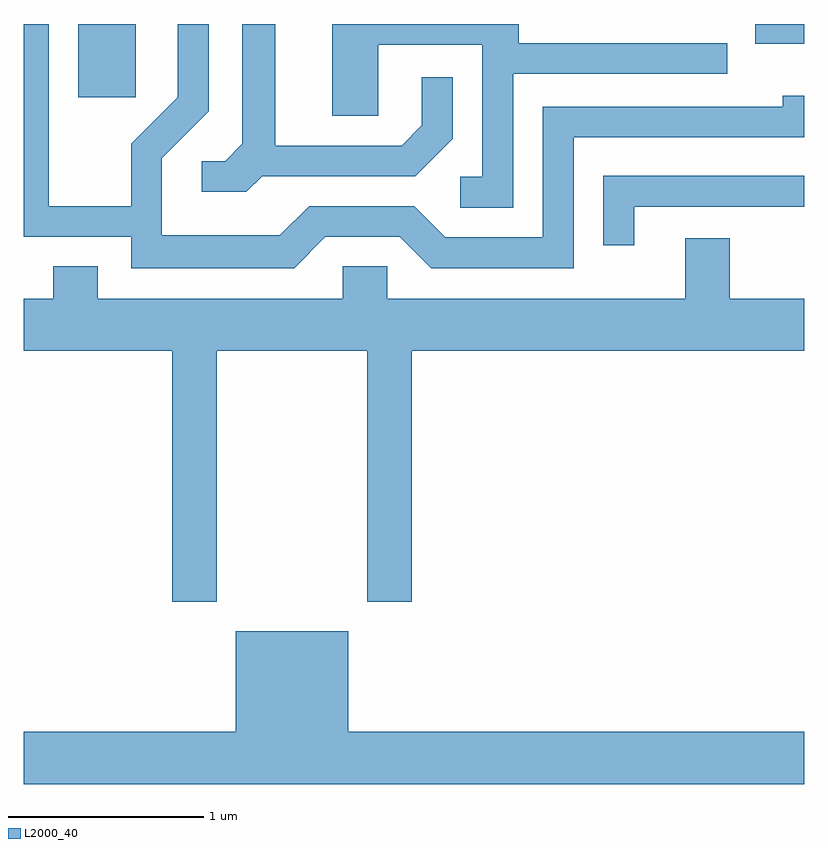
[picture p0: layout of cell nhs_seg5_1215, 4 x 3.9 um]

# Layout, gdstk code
import gdstk
lib = gdstk.Library(unit=1e-6, precision=1e-09)
def R(c, l, rs):  # rectangles x0, y0, x1, y1
    for r in rs: c.add(gdstk.rectangle(r[:2], r[2:], *l))
def P(c, l, *ps):  # polygons
    for p in ps: c.add(gdstk.Polygon(p, *l))
L2000_40 = (2000, 40)

nhs_seg5_1215 = lib.new_cell('nhs_seg5_1215')
R(nhs_seg5_1215, L2000_40, [(221.891,1413.696,222.184,1414.072), (225.361,1413.971,225.611,1414.072)])
P(nhs_seg5_1215, L2000_40, [(222.832,1413.291),(223.617,1413.291),(223.809,1413.484),(223.809,1413.798),(223.651,1413.798),(223.651,1413.552),(223.549,1413.449),(222.899,1413.449),(222.899,1414.072),(222.731,1414.072),(222.731,1413.457),(222.644,1413.369),(222.523,1413.369),(222.523,1413.211),(222.752,1413.211)],
  [(223.157,1412.981),(223.539,1412.981),(223.699,1412.821),(224.429,1412.821),(224.429,1413.491),(225.611,1413.491),(225.611,1413.704),(225.501,1413.704),(225.501,1413.649),(224.271,1413.649),(224.271,1412.979),(223.772,1412.979),(223.612,1413.139),(223.074,1413.139),(222.924,1412.989),(222.319,1412.989),(222.319,1413.384),(222.559,1413.624),(222.559,1414.072),(222.401,1414.072),(222.401,1413.697),(222.161,1413.457),(222.161,1413.139),(221.739,1413.139),(221.739,1414.072),(221.611,1414.072),(221.611,1412.981),(222.161,1412.981),(222.161,1412.821),(222.997,1412.821)],
  [(224.119,1413.816),(225.218,1413.816),(225.218,1413.974),(224.149,1413.974),(224.149,1414.072),(223.191,1414.072),(223.191,1413.601),(223.429,1413.601),(223.429,1413.966),(223.961,1413.966),(223.961,1413.289),(223.848,1413.289),(223.848,1413.131),(224.119,1413.131)],
  [(224.739,1413.136),(225.611,1413.136),(225.611,1413.294),(224.581,1413.294),(224.581,1412.938),(224.739,1412.938)],
  [(222.599,1412.396),(223.371,1412.396),(223.371,1411.111),(223.599,1411.111),(223.599,1412.396),(225.611,1412.396),(225.611,1412.664),(225.229,1412.664),(225.229,1412.974),(225.001,1412.974),(225.001,1412.664),(223.474,1412.664),(223.474,1412.829),(223.246,1412.829),(223.246,1412.664),(221.989,1412.664),(221.989,1412.829),(221.761,1412.829),(221.761,1412.664),(221.611,1412.664),(221.611,1412.396),(222.371,1412.396),(222.371,1411.111),(222.599,1411.111)],
  [(225.611,1410.444),(223.274,1410.444),(223.274,1410.959),(222.696,1410.959),(222.696,1410.444),(221.611,1410.444),(221.611,1410.176),(225.611,1410.176)])

lib.write_gds('nhs_seg5_1215.gds')
